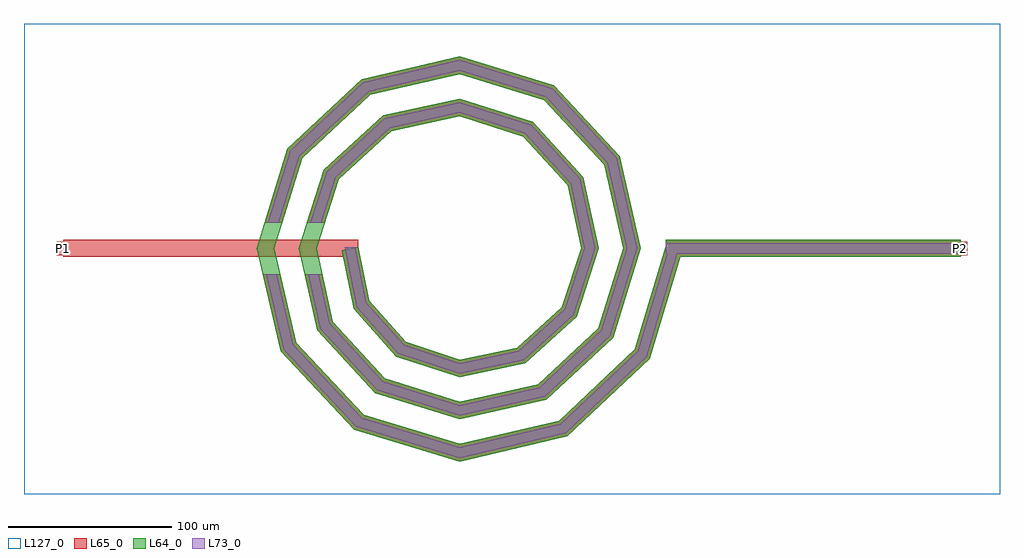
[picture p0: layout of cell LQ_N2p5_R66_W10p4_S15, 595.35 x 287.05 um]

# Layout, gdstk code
import gdstk
lib = gdstk.Library(unit=1e-6, precision=1e-09)
def R(c, l, rs):  # rectangles x0, y0, x1, y1
    for r in rs: c.add(gdstk.rectangle(r[:2], r[2:], *l))
def P(c, l, *ps):  # polygons
    for p in ps: c.add(gdstk.Polygon(p, *l))
L64_0 = (64, 0)
L65_0 = (65, 0)
L73_0 = (73, 0)
L127_0 = (127, 0)

lq_n2p5_r66_w10p4_s15 = lib.new_cell('LQ_N2p5_R66_W10p4_S15')
R(lq_n2p5_r66_w10p4_s15, L64_0, [(125.788,-5.2,305.788,5.2)])
P(lq_n2p5_r66_w10p4_s15, L64_0, [(-54.857,-32.032),(-32.57,-57.018),(0.294,-67.805),(35.22,-60.432),(62.567,-35.803),(74.227,0.27),(66.005,38.411),(39.032,68.118),(0.25,80.649),(-41.606,71.576),(-73.671,42.259),(-87.071,0.232),(-77.146,-44.803),(-45.484,-79.225),(0.217,-93.494),(48.001,-82.715),(84.78,-48.707),(99.916,0.204),(88.284,51.202),(51.929,90.336),(0.192,106.339),(-54.403,93.852),(-95.893,55.15),(-112.761,0.182),(-99.419,-57.606),(-58.369,-101.45),(0.173,-119.184),(60.809,-104.986),(107.008,-61.588),(126.009,1.5),(135.967,-1.5),(116.162,-67.259),(65.897,-114.476),(0.173,-129.946),(-64.055,-110.595),(-108.918,-62.677),(-123.523,0.182),(-105.027,60.851),(-59.457,103.36),(0.192,117.1),(57.649,99.459),(97.803,56.235),(110.676,0.204),(93.89,-54.448),(53.013,-92.246),(0.217,-104.253),(-51.248,-88.32),(-86.691,-49.788),(-97.829,0.232),(-82.749,48.05),(-46.562,81.136),(0.25,91.406),(44.854,77.177),(75.582,43.334),(84.982,0.27),(71.603,-41.66),(40.103,-70.03),(0.294,-78.558),(-38.47,-66.027),(-64.48,-36.868),(-71.852,-1.048),(-61.665,1.048)])
R(lq_n2p5_r66_w10p4_s15, L65_0, [(-241.558,-5.2,-61.558,5.2), (125.788,-5.2,305.788,5.2), (-245.558,-4,-237.558,4), (301.788,-4,309.788,4)])
P(lq_n2p5_r66_w10p4_s15, L65_0, [(-99.419,-57.606),(-58.369,-101.45),(0.173,-119.184),(60.809,-104.986),(107.008,-61.588),(126.009,1.5),(135.967,-1.5),(116.162,-67.259),(65.897,-114.476),(0.173,-129.946),(-64.055,-110.595),(-108.918,-62.677),(-119.856,-15.6),(-109.179,-15.6)],
  [(-77.146,-44.803),(-45.484,-79.225),(0.217,-93.494),(48.002,-82.715),(84.78,-48.707),(99.916,0.204),(88.284,51.202),(51.929,90.336),(0.192,106.339),(-54.403,93.852),(-95.893,55.15),(-107.95,15.6),(-118.823,15.6),(-105.027,60.851),(-59.457,103.36),(0.192,117.1),(57.649,99.459),(97.803,56.235),(110.676,0.204),(93.89,-54.448),(53.013,-92.246),(0.217,-104.253),(-51.248,-88.32),(-86.691,-49.789),(-94.304,-15.6),(-83.649,-15.6)],
  [(-32.57,-57.018),(0.294,-67.805),(35.22,-60.432),(62.567,-35.803),(74.227,0.27),(66.005,38.411),(39.032,68.118),(0.25,80.649),(-41.606,71.576),(-73.671,42.259),(-82.078,15.6),(-92.983,15.6),(-82.749,48.05),(-46.562,81.136),(0.25,91.406),(44.854,77.177),(75.582,43.334),(84.982,0.27),(71.603,-41.661),(40.103,-70.03),(0.294,-78.558),(-38.47,-66.027),(-64.48,-36.868),(-71.852,-1.048),(-61.665,1.048),(-54.857,-32.032)])
R(lq_n2p5_r66_w10p4_s15, L73_0, [(125.788,-3.2,305.788,3.2)])
P(lq_n2p5_r66_w10p4_s15, L73_0, [(-101.246,-58.581),(-59.463,-103.209),(0.106,-121.254),(61.788,-106.811),(108.768,-62.679),(127.924,0.923),(134.052,0.923),(114.401,-66.168),(64.918,-112.651),(0.106,-127.877),(-62.961,-108.836),(-107.091,-61.702),(-117.803,-15.6),(-111.232,-15.6)],
  [(-78.982,-45.762),(-46.592,-80.974),(0.134,-95.563),(48.965,-84.548),(86.532,-49.811),(101.985,0.126),(90.114,52.17),(53.029,92.09),(0.118,108.408),(-55.375,95.68),(-97.649,56.246),(-110.041,15.6),(-116.732,15.6),(-103.27,59.755),(-58.485,101.531),(0.118,115.03),(56.549,97.705),(95.972,55.267),(108.607,0.126),(92.138,-53.344),(52.049,-90.413),(0.134,-102.184),(-50.14,-86.571),(-84.855,-48.83),(-92.255,-15.6),(-85.698,-15.6)],
  [(-33.705,-58.751),(0.181,-69.873),(36.159,-62.278),(64.305,-36.929),(76.295,0.166),(67.847,39.358),(40.152,69.86),(0.154,82.717),(-42.559,73.414),(-75.417,43.373),(-84.175,15.6),(-90.886,15.6),(-81.004,46.937),(-45.609,79.298),(0.154,89.337),(43.735,75.435),(73.741,42.387),(82.914,0.166),(69.866,-40.534),(39.164,-68.184),(0.181,-76.49),(-37.336,-64.295),(-62.629,-35.938),(-69.893,0.645),(-63.624,0.645),(-56.708,-32.962)])
R(lq_n2p5_r66_w10p4_s15, L127_0, [(-265.558,-149.946,329.788,137.1)])
lq_n2p5_r66_w10p4_s15.add(gdstk.Label('P2', (305.788,0), layer=65, texttype=0))
lq_n2p5_r66_w10p4_s15.add(gdstk.Label('P1', (-241.558,0), layer=65, texttype=0))
lq_n2p5_r66_w10p4_s15.add(gdstk.Label('P2', (309.788,0), layer=145, texttype=0))
lq_n2p5_r66_w10p4_s15.add(gdstk.Label('P1', (-245.558,0), layer=145, texttype=0))

lib.write_gds('LQ_N2p5_R66_W10p4_S15.gds')
